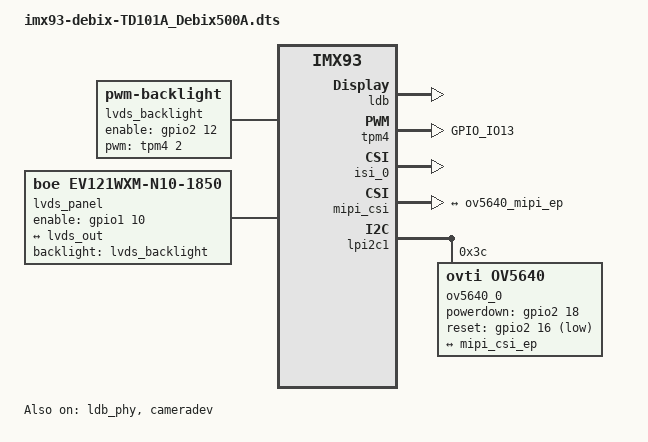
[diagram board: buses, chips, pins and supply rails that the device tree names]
// SPDX-License-Identifier: (GPL-2.0+ OR MIT)
/*
 * Copyright 2022 NXP
 */

#include "imx93-11x11-evk.dts"

/ {

	lvds_backlight: lvds_backlight {
		compatible = "pwm-backlight";
		pinctrl-names = "default";
		pinctrl-0 = <&pinctrl_pwm>;
		pwms = <&tpm4 2 100000 0>;
		enable-gpios = <&gpio2 12 GPIO_ACTIVE_HIGH>;
		//power-supply = <&reg_vdd_12v>;
		status = "okay";

		brightness-levels = < 0  1  2  3  4  5  6  7  8  9
				     10 11 12 13 14 15 16 17 18 19
				     20 21 22 23 24 25 26 27 28 29
				     30 31 32 33 34 35 36 37 38 39
				     40 41 42 43 44 45 46 47 48 49
				     50 51 52 53 54 55 56 57 58 59
				     60 61 62 63 64 65 66 67 68 69
				     70 71 72 73 74 75 76 77 78 79
				     80 81 82 83 84 85 86 87 88 89
				     90 91 92 93 94 95 96 97 98 99
				    100>;
		default-brightness-level = <80>;
	};

	lvds_panel {
		pinctrl-names = "default";
		pinctrl-0 = <&pinctrl_lvds>;
		compatible = "boe,ev121wxm-n10-1850";
		//compatible = "debix,HC101IK25050-D59V.C";
                backlight = <&lvds_backlight>;
		enable-gpios = <&gpio1 10 GPIO_ACTIVE_HIGH>;

		port {
			panel_lvds_in: endpoint {
				remote-endpoint = <&lvds_out>;
			};
		};
	};

	//debix-pwm {
	//	compatible = "debix,debix-pwm";    /* compatible属性 */
	//	power-gpios = <&gpio2 12 0>;           /* pwm en gpio */
	//	pwm-gpios = <&gpio2 13 0>;           /* pwm输出gpio */
	//	npwm = <1>;                     /* pwm通道个数 */
	//	status = "disabled";
	//};
};

/*
&adv7535 {
	status = "disabled";
};
*/

&dphy {
	status = "disabled";
};

&dsi {
	status = "disabled";
};

&lcdif {
	//assigned-clock-rates = <300000000>, <42858000>, <400000000>, <133333333>;
	assigned-clock-rates = <498000000>, <71142857>, <400000000>, <133333333>;
};

&ldb {
	status = "okay";

	lvds-channel@0 {
		//fsl,data-mapping = "jeida";
		fsl,data-mapping = "spwg";
		fsl,data-width = <24>;
		status = "okay";

		port@1 {
			reg = <1>;

			lvds_out: endpoint {
				remote-endpoint = <&panel_lvds_in>;
			};
		};
	};
};

&ldb_phy {
	status = "okay";
};

&tpm4 {
	pinctrl-names = "default";
	pinctrl-0 = <&pinctrl_pwm4>;
	status = "okay";
};
&cameradev {
	status = "okay";
};

&isi_0 {
	status = "okay";

	cap_device {
		status = "okay";
	};
};

&mipi_csi {
	#address-cells = <1>;
	#size-cells = <0>;
	status = "okay";

	port@0 {
		reg = <0>;
		mipi_csi_ep: endpoint {
			remote-endpoint = <&ov5640_mipi_ep>;
			data-lanes = <2>;
			cfg-clk-range = <28>; /*24MHz = 28*/
			hs-clk-range = <0x16>;  
			bus-type = <5>;
			
		};
	};
};

&lpi2c1 {
	ov5640_0: ov5640_mipi@3c {
                compatible = "ovti,ov5640";
                reg = <0x3c>;
                pinctrl-names = "default";
                pinctrl-0 = <&pinctrl_csi0_pwn>, <&pinctrl_csi0_rst>/*, <&pinctrl_csi0_mclk>*/;
	//	clocks = <&clk IMX93_CLK_CCM_CKO3>;
	//	clock-names = "xclk";
	//	assigned-clocks = <&clk IMX93_CLK_CCM_CKO3>;
         //       assigned-clock-parents = <&clk IMX93_CLK_24M>;
          //      assigned-clock-rates = <24000000>;
		csi_id = <0>;
                powerdown-gpios = <&gpio2 18 GPIO_ACTIVE_HIGH>;
		reset-gpios = <&gpio2 16 GPIO_ACTIVE_LOW>;
		//mclk = <24000000>;
		//mclk_source = <0>;
		mipi_csi;
		status = "okay";
		port {
                        ov5640_mipi_ep: endpoint {
                                remote-endpoint = <&mipi_csi_ep>;
                                data-lanes = <2>;
                                clock-lanes = <0>;
                        };
                };
        };
};

&iomuxc {
        pinctrl_lvds: lvdsengrp {
                fsl,pins = <
			MX93_PAD_PDM_BIT_STREAM1__GPIO1_IO10 0x139e
                >;
        };
        pinctrl_pwm: pwmgrp {
                fsl,pins = <
			MX93_PAD_GPIO_IO12__GPIO2_IO12	0x139e
			//MX93_PAD_GPIO_IO13__GPIO2_IO13	0x139e
                >;
        };
	pinctrl_pwm4: pwm4grp {
		fsl,pins = <
			MX93_PAD_GPIO_IO13__TPM4_CH2 0x39e
		>;
	};
        pinctrl_csi0_pwn: csi0_pwn_grp {
                fsl,pins = <
                         MX93_PAD_GPIO_IO18__GPIO2_IO18		0x31e
                >;
        };
	pinctrl_csi0_rst: csi0_rst_grp {
                fsl,pins = <
                         MX93_PAD_GPIO_IO16__GPIO2_IO16		0x31e
                >;
        };
	pinctrl_csi0_mclk: csi0_mclk_grp {
                fsl,pins = <
			 //MX93_PAD_CCM_CLKO3__CCMSRCGPCMIX_CLKO3  0x31e
			 MX93_PAD_CCM_CLKO3__CCMSRCGPCMIX_CLKO3  0x1fe
                >;
        };
};
